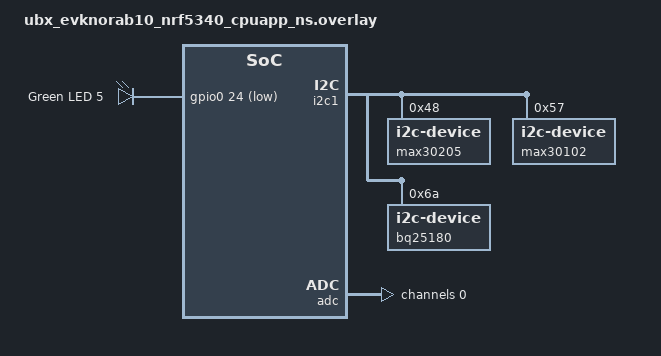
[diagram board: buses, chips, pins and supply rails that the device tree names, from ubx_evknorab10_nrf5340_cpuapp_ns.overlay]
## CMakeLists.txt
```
cmake_minimum_required(VERSION 3.20.0)

find_package(Zephyr REQUIRED HINTS $ENV{ZEPHYR_BASE})
project(NONE)

# NORDIC SDK APP START
target_sources(app PRIVATE
  src/main.c
  src/my_lbs.c
)

# NORDIC SDK APP END
zephyr_library_include_directories(.)
```

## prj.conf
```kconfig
# Adicionafo para utilização de bibliotecas da Nordic Semiconductor
CONFIG_DK_LIBRARY=y

# Adicionado para utilização do I2C
CONFIG_I2C=y

# Adicionado para utilização do ADC
CONFIG_ADC=y

# Adicionado para utilização do Bluetooth
CONFIG_BT=y
CONFIG_BT_PERIPHERAL=y
CONFIG_BT_DEVICE_NAME="Dispositivo"

# Adicionado para utilização de ponto flutuante
CONFIG_CBPRINTF_FP_SUPPORT=y

# Adicionado para mudar o MTU
CONFIG_BT_GATT_CLIENT=y
CONFIG_BT_USER_DATA_LEN_UPDATE=y
CONFIG_BT_BUF_ACL_RX_SIZE=80
CONFIG_BT_BUF_ACL_TX_SIZE=80
CONFIG_BT_L2CAP_TX_MTU=74

# Adicionado para gerenciamento/economia de bateria
CONFIG_PM_DEVICE=y

# Retirara as configurações de LOG e Serial para economia de energia
CONFIG_LOG=n
CONFIG_SERIAL=y

# Configura o clock interno
CONFIG_PTP_CLOCK=y
CONFIG_CLOCK_CONTROL_NRF_K32SRC_RC=y
CONFIG_CLOCK_CONTROL_NRF_K32SRC_500PPM=y
CONFIG_CLOCK_CONTROL_NRF_K32SRC_RC_CALIBRATION=y
CONFIG_CLOCK_CONTROL_NRF_K32SRC_XTAL=n

CONFIG_SENSOR=y

CONFIG_BT_SMP_APP_PAIRING_ACCEPT=y
CONFIG_BT_SMP=y
CONFIG_BT_SMP_APP_PAIRING_ACCEPT=y
# CONFIG_BT_SMP_SC_ONLY=y
CONFIG_BT_SMP_MIN_ENC_KEY_SIZE=7
```

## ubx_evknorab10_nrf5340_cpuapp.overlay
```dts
/* Alteração do devicetree para reconhecer os sensores e o controlador de carga na comunicação i2c */
&i2c1 {
    max30102: max30102@57{
        compatible = "i2c-device";
        status = "okay";
        reg = < 0x57 >;
    };

    bq25180: bq25180@6a{
        compatible = "i2c-device";
        status = "okay";
        reg = < 0x6a >;
    };
};

/* Alteração do devicetree para habilitar o canal analógico */
&adc {
    #address-cells = <1>;
    #size-cells = <0>;

    channel@0 {
        reg = <0>;
        zephyr,gain = "ADC_GAIN_1_6";
        zephyr,reference = "ADC_REF_INTERNAL";
        zephyr,acquisition-time = <ADC_ACQ_TIME_DEFAULT>;
        zephyr,input-positive = <NRF_SAADC_AIN0>;
    };
};
```

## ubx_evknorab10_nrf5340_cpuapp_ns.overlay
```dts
/* Alteração do devicetree para reconhecer os sensores e o controlador de carga na comunicação i2c */
&i2c1 {
    
    max30205: max30205@48{
        compatible = "i2c-device";
        status = "okay";
        reg = < 0x48 >;
    };

    max30102: max30102@57{
        compatible = "i2c-device";
        status = "okay";
        reg = < 0x57 >;
    };

    bq25180: bq25180@6a{
        compatible = "i2c-device";
        status = "okay";
        reg = < 0x6a >;
    };
    
};

/* Alteração do devicetree para habilitar o canal analógico */
&adc {
    #address-cells = <1>;
    #size-cells = <0>;

    channel@0 {
        reg = <0>;
        zephyr,gain = "ADC_GAIN_1_6";
        zephyr,reference = "ADC_REF_INTERNAL";
        zephyr,acquisition-time = <ADC_ACQ_TIME_DEFAULT>;
        zephyr,input-positive = <NRF_SAADC_AIN0>;
    };
};

/* Alteração do devicetree para habilitar o LED e botão */
/{
    leds {
        compatible = "gpio-leds";
        led5: led_5 {
            gpios = <&gpio0 24 GPIO_ACTIVE_LOW>;
            label = "Green LED 5";
        };
    };

    // buttons {
        // button4: button_4 {
        // gpios = <&gpio0 5 (GPIO_PULL_UP | GPIO_ACTIVE_LOW)>;
        // label = "Push button 5";
        // };
    // };

    aliases {
		led5 = &led5;
        // bot1 = &button4;
	};
    
};
```

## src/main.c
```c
#include <zephyr/kernel.h>

/* Bibliotecas BLE */
#include <zephyr/bluetooth/bluetooth.h>
#include <zephyr/bluetooth/gap.h>
#include <zephyr/bluetooth/uuid.h>
#include <zephyr/bluetooth/conn.h>
#include <zephyr/bluetooth/gatt.h>
#include "my_lbs.h"

/* Biliotecas GPIO */
#include <hal/nrf_gpio.h>
#include <zephyr/drivers/gpio.h>

/* Bibliotecas de gerenciamento de energia */
#include <zephyr/pm/pm.h>
#include <zephyr/pm/device.h>
	
/* Bibliotecas de dipositivos e I2C */
#include <zephyr/device.h>
#include <zephyr/devicetree.h>
#include <zephyr/drivers/i2c.h>
#include <zephyr/drivers/sensor.h>

/* Bibliotecas dos sensores e auxiliares */
#include "max30102.c"
#include "bq25180.c"

/* Biblioteca de tempo */
#include <sys/time.h>

/* Biblioteca entrada analógica */
#include <zephyr/drivers/adc.h>

/* Definição do nó analógico */
#define ADC_NODE DT_NODELABEL(adc)

/* Struct de configuração do canal analógico */
const struct adc_channel_cfg ch0_cfg_dt =
     ADC_CHANNEL_CFG_DT(DT_CHILD(DT_NODELABEL(adc), channel_0));

/* Definição do divisor de tensão, para cálculo do valor da bateria */
#define VOLTAGE_DIVISOR_RATIO (100.0 / (100.0 + 100.0)) // R2 / (R1 + R2)

/* Struct que aponta para o nó analógico */
const struct device *adc_dev = DEVICE_DT_GET(ADC_NODE);

/* Inicialização do buff analógico */
static int16_t adc_buffer;

/* Struct com configurações do canal analógico */
struct adc_sequence sequence = {
        .channels    = BIT(0),
        .buffer      = &adc_buffer,
        .buffer_size = sizeof(adc_buffer),
        .resolution  = 12,
    };

/* Struct com configurações de parâmetros de publicidade BLE */
static struct bt_le_adv_param *adv_param = BT_LE_ADV_PARAM((BT_LE_ADV_OPT_CONNECTABLE|BT_LE_ADV_OPT_USE_IDENTITY), /* Connectable advertising and use identity address */
                800, /*Min Advertising Interval 500ms (800*0.625ms) */
                801, /*Max Advertising Interval 500.625ms (801*0.625ms)*/
                NULL); /* Set to NULL for undirected advertising*/

/* Inicialização de struct e função relacionada a mudanção no tamanho do MTU */
static struct bt_gatt_exchange_params exchange_params; 
static void exchange_func(struct bt_conn *conn, uint8_t att_err, struct bt_gatt_exchange_params *params);

static void pairing_confirm(struct bt_conn *conn);

/* Definições do nome e comprimento do BLE */
#define DEVICE_NAME             CONFIG_BT_DEVICE_NAME
#define DEVICE_NAME_LEN         (sizeof(DEVICE_NAME) - 1)

/* Definições necessárias para utilização das threads */
#define STACKSIZE 1024
#define PRIORITY 7

/* Definição do nó I2C */
#define I2C_NODE DT_NODELABEL(i2c1)

/* Declaração e inicialização de variáveis */
#define BUFFER_MAX 240												// Valor máximo do buffer que auxilia na transformação dos valores em string
#define RED_LED 0X4B												// Variável que controla a intensidade do led vermelho
#define IR_LED 0x3C													// Variável que controla a intensidade do led infravermelho
#define LIMIAR_DETEC 50000											// Variável que define o limiar para considerar uma detecção

bool  status			= 0;										// Variável que indica o status de conexão BLE
int   presenca			= 0;		                                // Variável que indica a presença
float temperatura		= 0.00;										// Variável que armazena a leitura da temperatura
float bateria	 		= 0.00;										// Variável que armazena a leitura da bateria
char  json_str[]		= "inicialização da string dos sensores";	// Variável da mensagem dos dados que são enviados por bluetooth
char  pre[]				= "inicialização da string de presença";	// Variável que auxilia na montagem da variável a ser enviada (json_str)
char  bat[]				= "inicialização da string da bateria";		// Variável que auxilia na montagem da variável a ser enviada (json_str2)

uint32_t tempo_inicial;												// Variável auxiliar no controle de tempo
uint32_t tempo_atual;												// Variável auxiliar no controle de tempo

static const struct bt_data ad[] = {
	BT_DATA_BYTES(BT_DATA_FLAGS, (BT_LE_AD_GENERAL | BT_LE_AD_NO_BREDR)),
	BT_DATA(BT_DATA_NAME_COMPLETE, DEVICE_NAME, DEVICE_NAME_LEN),
};

static const struct bt_data sd[] = {
	BT_DATA_BYTES(BT_DATA_UUID128_ALL, BT_UUID_LBS_VAL),
};

/* Definições necessárias para utilização do controlador de carga */
#define BQ25180_TEMP_HIGH_REG 0x00
#define BQ25180_TEMP_LOW_REG 0x02
#define BQ25180_CONFIG_REG 0x03
#define MIN(a, b) (((a) < (b)) ? (a) : (b))
#define MIN_BAT_REG_mV 3500U
#define MAX_BAT_REG_mV 4200U
#define MIN_BAT_UNDERVOLTAGE_mV 2000U
#define MAX_BAT_UNDERVOLTAGE_mV 3000U
#define MIN_IN_CURR_mA 5U
#define MAX_IN_CURR_mA 1000U
#define BQ25180_DEVICE_ADDRESS 0x6A

/* Função com as chamadas de configuração do controlador de carga */
void bq25180_setup()
{
	// Configuração inicial do bq25180
	bq25180_enable_push_button(true);
	bq25180_set_fastcharge_current(1000);								// Configura para 1000mA (1C)
	bq25180_set_precharge_current(true); 								// Define para 10% da corrente de carga máxima
	bq25180_enable_thermal_protection(false);
	bq25180_set_precharge_threshold(2800);							   	// Define para 2800mV
	bq25180_set_battery_discharge_current(BQ25180_BAT_DISCHAGE_500mA); 	// Configura para 500mA (ou outra opção adequada)
	bq25180_set_battery_under_voltage(3200);						   	// Configura para 3200mV (ou outra opção adequada)
	bq25180_enable_battery_charging(true);

}

/* Função com retorno do tempo em ms*/
uint32_t tempo_em_ms(void) {
    return k_uptime_get_32();
}

/* Função de coleta dos dados */
// static void data_colection(const struct device *dev_i2c)
static void data_colection()
{
	/* Leitura da bateria */
	adc_read(adc_dev, &sequence);
    float adc_voltage = ((float)adc_buffer / (1 << 12)) * 0.6 * 6;
    bateria = adc_voltage / VOLTAGE_DIVISOR_RATIO;

	/* Leitura do sensor de batimento cardíaco e oximetria */
	// setPulseAmplitudeRed(RED_LED);
    // setPulseAmplitudeIR(IR_LED);
	// k_msleep(200); 

	// if(max30102_GetIR() > LIMIAR_DETEC && max30102_GetRed() > LIMIAR_DETEC){
	// 	presenca = 1;
	
	// 	setPulseAmplitudeRed(0x00);
	// 	setPulseAmplitudeIR(0x00);
	// }
	// else{
	// 	presenca = 0;
    //     setPulseAmplitudeRed(0x00);
	// 	setPulseAmplitudeIR(0x00);
	// }

	// /* Converção dos valores para string */
	// sprintf(bat, "%.2f", bateria);
	// sprintf(pre, "%d", presenca);

	// /* Construção da string que será enviada via BLE, no serviço TCC*/
	// snprintf(json_str, BUFFER_MAX, "{\"Presenca\": %s, \"Bateria\": %s}", pre, bat);		
	 snprintf(json_str, BUFFER_MAX, "Presenca: 1, Bateria: 3,6", pre, bat);	
}

/* Função de chamada da thread responsável pelo envio de dados via BLE */
void send_data_thread(void)
{	
	// const struct device *dev_i2c;
	// dev_i2c = DEVICE_DT_GET(I2C_NODE);

	while(1){

		while(status == 1){
			// pm_device_action_run(dev_i2c, PM_DEVICE_ACTION_TURN_ON);
			tempo_inicial = tempo_em_ms();
			tempo_atual = tempo_em_ms();

			/* Chamada da função de coleta de dados */
			// data_colection(dev_i2c);
			data_colection();
			
			/* Chamada das funções que fazem o envio dos dados via bluetooth */
			sensors_notify(json_str);
			printk("Dado enviado\n");
			// pm_device_action_run(dev_i2c, PM_DEVICE_ACTION_TURN_OFF);
			tempo_atual = tempo_em_ms();
			k_msleep(60000 - (tempo_atual - tempo_inicial));
		}
		
		while (status == 0)
		{
			k_msleep(5000);
		}
	}	
}

/* Função de configuração de tamanho do MTU */
static void update_data_length(struct bt_conn *conn)
{
    int err;
    struct bt_conn_le_data_len_param my_data_len = {
        .tx_max_len = BT_GAP_DATA_LEN_MAX,
        .tx_max_time = BT_GAP_DATA_TIME_MAX,
    };
    err = bt_conn_le_data_len_update(conn, &my_data_len);
    if (err) {
        printk("data_len_update failed (err: %d)", err);
    }
}

/* Função de configuração de tamanho do MTU */
static void update_mtu(struct bt_conn *conn)
{
    int err;
    exchange_params.func = exchange_func;

    err = bt_gatt_exchange_mtu(conn, &exchange_params);
    if (err) {
        printk("bt_gatt_exchange_mtu failed (err: %d)", err);
    }
}

/* Função de callback para conexão BLE */
static void on_connected(struct bt_conn *conn, uint8_t err)
{
	// const struct device *dev_i2c;
	// dev_i2c = DEVICE_DT_GET(I2C_NODE);

	if (err) {
		printk("Falha de conexão (err: %u)\n", err);
		return;
	}
	printk("Conectado\n");
	status = 1;
	/* Chamada de funções para configuração de tamanho do MTU */
	update_data_length(conn);
	update_mtu(conn);

	// pm_device_action_run(dev_i2c, PM_DEVICE_ACTION_TURN_ON);
}

/* Função de callback para desconexão do BLE */
static void on_disconnected(struct bt_conn *conn, uint8_t reason)
{
	// const struct device *dev_i2c;
	// dev_i2c = DEVICE_DT_GET(I2C_NODE);

	printk("Desconectado (motivo: %u)\n", reason);
	status = 0;
	// setPulseAmplitudeRed(0x00);
	// setPulseAmplitudeIR(0x00);
	// pm_device_action_run(dev_i2c, PM_DEVICE_ACTION_TURN_OFF);
}

/* Função de callback para alteração de tamanho do MTU */
void on_le_data_len_updated(struct bt_conn *conn, struct bt_conn_le_data_len_info *info)
{
    uint16_t tx_len     = info->tx_max_len; 
    uint16_t tx_time    = info->tx_max_time;
    uint16_t rx_len     = info->rx_max_len;
    uint16_t rx_time    = info->rx_max_time;
    printk("Comprimento de dado atualizado. Comprimento %d/%d bytes, tempo %d/%d us\n", tx_len, rx_len, tx_time, rx_time);	
}

/* Struct de callbacks BLE */
struct bt_conn_cb connection_callbacks = {
    .connected              = on_connected,
    .disconnected           = on_disconnected,  
	.le_data_len_updated    = on_le_data_len_updated,
};

static void pairing_confirm(struct bt_conn *conn)
{
    printf("Confirming pairing with device.\n");
    // Se você quiser confirmar o pareamento automaticamente:
    // bt_conn_auth_confirm(conn);
	bt_conn_auth_pairing_confirm(conn);
    
}
struct bt_conn_auth_cb conn_auth_callbacks = {
   .pairing_confirm = pairing_confirm,
};

/* Função para alteração de tamanho do MTU */
static void exchange_func(struct bt_conn *conn, uint8_t att_err, struct bt_gatt_exchange_params *params)
{
	printk("MTU exchange %s\n", att_err == 0 ? "successful" : "failed");
    if (!att_err) {
        uint16_t payload_mtu = bt_gatt_get_mtu(conn) - 3;   // 3 bytes used for Attribute headers.
        printk("Novo MTU: %d bytes\n", payload_mtu);
    }
}

/* Função de inicialização do dispositivo, realiza as configurações básicas */
void begining_thread(void)
{
	int err;
    
	// const struct device *dev_i2c;
	// dev_i2c = DEVICE_DT_GET(I2C_NODE);

	printk("Hardware TCC\n");
	
	/* Chamada da função de setup do controlador de carga */
	// bq25180_setup();

	/* Chamada da função de inicialização do sensor MAX30102 */
	// max30102_Begin();

	/* Inicialização da entrada analógica */
    if (!device_is_ready(adc_dev)) {
        printk("ADC não pronto\n");
        return;
    }

	/* Configuração da entrada analógica */
    err = adc_channel_setup(adc_dev, &ch0_cfg_dt);
    if (err) {
        printk("Erro na configuração da entrada analógica: %d\n", err);
        return;
    }
	
	/* Inicialização do BLE */
	err = bt_enable(NULL);
	if (err) {
		printk("Falha na inicialização do Bluetooth (err: %d)\n", err);
		return;
	}

	/* Registro de callbacks do BLE */
    bt_conn_cb_register(&connection_callbacks);
	bt_conn_auth_cb_register(&conn_auth_callbacks);
	/* Inicialização da característica TCC */
	err = tcc_init();
	if (err) {
		printk("Falha na inicialização da característica TCC (err: %d)\n", err);
		return;
	}

	printk("BLE inicializado\n");

	/* Inicialazação da publicidade BLE */
	err = bt_le_adv_start(adv_param, ad, ARRAY_SIZE(ad), sd, ARRAY_SIZE(sd));
	if (err) {
		printk("Falha no começo da publicidade (err: %d)\n", err);
		return;
	}
	
	printk("Publicidade inicializada\n");

	// setPulseAmplitudeRed(0x00);
	// setPulseAmplitudeIR(0x00);
}

/* Thread de inicialização do dispositivo */
K_THREAD_DEFINE(begining_thread_id, STACKSIZE, begining_thread, NULL, NULL, NULL, PRIORITY, 0, 0);
/* Thread de coleta e envio dos dados (delay de 100ms para garantir a inicialização do dispositivo) */
K_THREAD_DEFINE(send_data_thread_id, STACKSIZE, send_data_thread, NULL, NULL, NULL, PRIORITY, 0, 100);
```

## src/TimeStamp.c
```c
#include <Zephyr/kernel.h>
#include <stdio.h>
#include <stdint.h>

#define for_micro_second 1 // For micro second time stamp
#define for_milli_second 1000 // For micro second time stamp

void init_timeStamp(void)
{
    NRF_TIMER0->MODE = TIMER_MODE_MODE_Timer;  // Set the TIMER mode to Timer Mode
    NRF_TIMER0->PRESCALER = 4;                // Set the prescaler to 2^4 (16)
    NRF_TIMER0->TASKS_CLEAR = 1;              // Clear the timer
    NRF_TIMER0->BITMODE = TIMER_BITMODE_BITMODE_32Bit; // 32-bit timer mode
    NRF_TIMER0->TASKS_START = 1;             // Start the timer
} // End of void timer_init(void)
///////| (34) |///////////
uint32_t get_uTimeStamp(void)
{
    NRF_TIMER0->TASKS_CAPTURE[1] = 1;  // Trigger a capture event on CC[1]
    return NRF_TIMER0->CC[1]/for_micro_second;  // Read the captured value from CC[1]
} // End of uint32_t get_timestamp(void)
uint32_t get_mTimeStamp(void)
{
    NRF_TIMER0->TASKS_CAPTURE[1] = 1;  // Trigger a capture event on CC[1]
    return NRF_TIMER0->CC[1]/for_milli_second;  // Read the captured value from CC[1]
} // End of uint32_t get_timestamp(void)
```

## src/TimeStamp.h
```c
#ifndef USTIMESTAMP_H_
#define USTIMESTAMP_H_

#include <stdio.h>
#include <stdint.h>

void init_timeStamp(void);
uint32_t get_uTimeStamp(void);
uint32_t get_mTimeStamp(void);

#endif /* USTIMESTAMP_H_ */
```

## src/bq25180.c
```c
/*
 * SPDX-FileCopyrightText: 2022 Kyunghwan Kwon <k@mononn.com>
 *
 * SPDX-License-Identifier: MIT
 */

#include "bq25180.h"
#include "bq25180_overrides.h"
#include <string.h>

#if !defined(assert)
#define assert(exp)
#endif

#if !defined(MIN)
#define MIN(a, b)		(((a) > (b))? (b) : (a))
#endif

#define MIN_BAT_REG_mV		3500U
#define MAX_BAT_REG_mV		4650U

#define MIN_BAT_UNDERVOLTAGE_mV	2000U
#define MAX_BAT_UNDERVOLTAGE_mV	3000U

#define MIN_IN_CURR_mA		5U
#define MAX_IN_CURR_mA		1000U

enum registers {
	STAT0		= 0,	/* Charger Status */
	STAT1,			/* Charger Status and Faults */
	FLAG0,			/* Charger Flag Registers */
	VBAT_CTRL,		/* Battery Voltage Control */
	ICHG_CTRL,		/* Fast Charge Current Control */
	CHARGECTRL0,		/* Charger Control 0 */
	CHARGECTRL1,		/* Charger Control 1 */
	IC_CTRL,		/* IC Control */
	TMR_ILIM,		/* Timer and Input Current Limit Control */
	SHIP_RST,		/* Shipmode, Reset and Pushbutton Control */
	SYS_REG,		/* SYS Regulation Voltage Control */
	TS_CONTROL,		/* TS Control */
	MASK_ID,		/* MASK and Device ID */
};

static bool write_reg(uint8_t reg, uint8_t val)
{
	return bq25180_write(BQ25180_DEVICE_ADDRESS, reg, &val, 1) >= 0;
}

static bool read_reg(uint8_t reg, uint8_t *p)
{
	return bq25180_read(BQ25180_DEVICE_ADDRESS, reg, p, 1) >= 0;
}

static void set_reg(uint8_t reg, uint8_t bit, uint8_t mask, uint8_t val)
{
	uint8_t tmp;

	read_reg(reg, &tmp);

	tmp = tmp & (uint8_t)~(mask << bit);
	tmp = tmp | (uint8_t)(val << bit);

	write_reg(reg, tmp);
}

static void set_interrupts(uint8_t mask, uint8_t enable)
{
	if (mask & BQ25180_INTR_CHARGING_STATUS) {
		set_reg(CHARGECTRL1, 2, 1, !enable); /* CHG_STATUS_INT_MASK */
	}
	if (mask & BQ25180_INTR_CURRENT_LIMIT) {
		set_reg(CHARGECTRL1, 1, 1, !enable); /* ILIM_INT_MASK */
	}
	if (mask & BQ25180_INTR_VDPM) {
		set_reg(CHARGECTRL1, 0, 1, !enable); /* VDPM_INT_MASK */
	}
	if (mask & BQ25180_INTR_THERMAL_FAULT) {
		set_reg(MASK_ID, 7, 1, !enable); /* TS_INT_MASK */
	}
	if (mask & BQ25180_INTR_THERMAL_REGULATION) {
		set_reg(MASK_ID, 6, 1, !enable); /* TREG_INT_MASK */
	}
	if (mask & BQ25180_INTR_BATTERY_RANGE) {
		set_reg(MASK_ID, 5, 1, !enable); /* BAT_INT_MASK */
	}
	if (mask & BQ25180_INTR_POWER_ERROR) {
		set_reg(MASK_ID, 4, 1, !enable); /* PG_INT_MASK */
	}
}

void bq25180_reset(bool hardware_reset)
{
	if (hardware_reset) {
		set_reg(SHIP_RST, 5, 3, 3); /* EN_RST_SHIP */
	} else {
		set_reg(SHIP_RST, 7, 1, 1); /* REG_RST */
	}
}

bool bq25180_read_event(struct bq25180_event *p)
{
	uint8_t val;

	assert(p != NULL);

	if (!read_reg(FLAG0, &val)) {
		return false;
	}

	memset(p, 0, sizeof(*p));

	p->battery_overcurrent = val & 1U; /* BAT_OCP_FAULT */
	p->battery_undervoltage = (val >> 1) & 1U; /* BUVLO_FAULT_FLAG */
	p->input_overvoltage = (val >> 2) & 1U; /* VIN_OVP_FAULT_FLAG */
	p->thermal_regulation = (val >> 3) & 1U; /* THERMREG_ACTIVE_FLAG */
	p->vindpm_fault = (val >> 4) & 1U; /* VINDPM_ACTIVE_FLAG */
	p->vdppm_fault = (val >> 5) & 1U; /* VDPPM_ACTIVE_FLAG */
	p->ilim_fault = (val >> 6) & 1U; /* ILIM_ACTIVE_FLAG */
	p->battery_thermal_fault = (val >> 7) & 1U; /* TS_FAULT */

	return true;
}

bool bq25180_read_state(struct bq25180_state *p)
{
	uint8_t val0, val1;

	assert(p != NULL);

	if (!read_reg(STAT0, &val0) || !read_reg(STAT1, &val1)) {
		return false;
	}

	memset(p, 0, sizeof(*p));

	p->vin_good = val0 & 1U; /* VIN_PGOOD_STAT */
	p->thermal_regulation_active = (val0 >> 1) & 1U; /* THERMREG_ACTIVE_STAT */
	p->vindpm_active = (val0 >> 2) & 1U; /* VINDPM_ACTIVE_STAT */
	p->vdppm_active = (val0 >> 3) & 1U; /* VDPPM_ACTIVE_STAT */
	p->ilim_active = (val0 >> 4) & 1U; /* ILIM_ACTIVE_STAT */
	p->charging_status = (val0 >> 5) & 3U; /* CHG_STAT */
	p->tsmr_open = (val0 >> 7) & 1U; /* TS_OPEN_STAT */
	p->wake2_raised = val1 & 1U; /* WAKE2_FLAG */
	p->wake1_raised = (val1 >> 1) & 1U; /* WAKE1_FLAG */
	p->safety_timer_fault = (val1 >> 2) & 1U; /* SAFETY_TMR_FAULT_FLAG */
	p->ts_status = (val1 >> 3) & 3U; /* TS_STAT */
	p->battery_undervoltage_active = (val1 >> 6) & 1U; /* BUVLO_START */
	p->vin_overvoltage_active = (val1 >> 7) & 1U; /* VIN_OVP_STAT */

	return true;
}

void bq25180_enable_battery_charging(bool enable)
{
	set_reg(ICHG_CTRL, 7, 1, !enable); /* CHG_DIS */
}

void bq25180_set_safety_timer(enum bq25180_safety_timer opt)
{
	/* TODO: support IC_CTRL.2XTMR_EN */
	set_reg(IC_CTRL, 2, 3, (uint8_t)opt); /* SAFETY_TIMER */
}

void bq25180_set_watchdog_timer(enum bq25180_watchdog opt)
{
	/* TODO: support SYS_REG.WATCHDOG_15S_ENABLE */
	set_reg(IC_CTRL, 0, 3, (uint8_t)opt); /* WATCHDOG_SEL */
}

void bq25180_set_battery_regulation_voltage(uint16_t millivoltage)
{
	assert(millivoltage >= MIN_BAT_REG_mV &&
			millivoltage <= MAX_BAT_REG_mV);

	uint8_t reg = (uint8_t)((millivoltage - MIN_BAT_REG_mV) / 10);
	write_reg(VBAT_CTRL, reg);
}

void bq25180_set_battery_discharge_current(
		enum bq25180_bat_discharge_current opt)
{
	set_reg(CHARGECTRL1, 6, 3, (uint8_t)opt); /* IBAT_OCP */
}

void bq25180_set_battery_under_voltage(uint16_t millivoltage)
{
	uint8_t val;

	assert(millivoltage >= MIN_BAT_UNDERVOLTAGE_mV &&
			millivoltage <= MAX_BAT_UNDERVOLTAGE_mV);

	if (millivoltage > 2800) {
		val = 2;
	} else if (millivoltage > 2600) {
		val = 3;
	} else if (millivoltage > 2400) {
		val = 4;
	} else if (millivoltage > 2200) {
		val = 5;
	} else if (millivoltage > 2000) {
		val = 6;
	} else {
		val = 7;
	}

	set_reg(CHARGECTRL1, 3, 7, val); /* UVLO */
}

void bq25180_set_precharge_threshold(uint16_t millivoltage)
{
	uint8_t val = 0;

	if (millivoltage <= 2800) {
		val = 1;
	}

	set_reg(IC_CTRL, 6, 1, val); /* VLOWV_SEL */
}

void bq25180_set_precharge_current(bool double_termination_current)
{
	set_reg(CHARGECTRL0, 6, 1, !double_termination_current); /* IPRECHG */
}

void bq25180_set_fastcharge_current(uint16_t milliampere)
{
	assert(milliampere >= MIN_IN_CURR_mA && milliampere <= MAX_IN_CURR_mA);

	uint8_t val = (uint8_t)(milliampere - MIN_IN_CURR_mA);

	if (milliampere > 35) {
		/* NOTE: 36mA to 39mA not in the range.
		 * See the datasheet: Table 8-13. */
		val = MIN((uint8_t)(milliampere / 10 + 27), 127/*1000mA*/);
	}

	set_reg(ICHG_CTRL, 0, 0x7f, val); /* ICHG */
}

void bq25180_set_termination_current(uint8_t pct)
{
	uint8_t val = 0;

	if (pct >= 20) {
		val = 3;
	} else if (pct >= 10) {
		val = 2;
	} else if (pct >= 5) {
		val = 1;
	}

	set_reg(CHARGECTRL0, 4, 3, val); /* ITERM */
}

void bq25180_enable_vindpm(enum bq25180_vindpm opt)
{
	set_reg(CHARGECTRL0, 2, 3, (uint8_t)opt); /* VINDPM */
}

void bq25180_enable_dppm(bool enable)
{
	set_reg(SYS_REG, 0, 1, !enable); /* VDPPM_DIS */
}

void bq25180_set_input_current(uint16_t milliampere)
{
	uint8_t val = 0;

	if (milliampere >= 1100) {
		val = 7;
	} else if (milliampere >= 700) {
		val = 6;
	} else if (milliampere >= 500) {
		val = 5;
	} else if (milliampere >= 400) {
		val = 4;
	} else if (milliampere >= 300) {
		val = 3;
	} else if (milliampere >= 200) {
		val = 2;
	} else if (milliampere >= 100) {
		val = 1;
	}

	set_reg(TMR_ILIM, 0, 7, val); /* ILIM */
}

void bq25180_set_sys_source(enum bq25180_sys_source source)
{
	set_reg(SYS_REG, 2, 3, (uint8_t)source); /* SYS_MODE */
}

void bq25180_set_sys_voltage(enum bq25180_sys_regulation val)
{
	set_reg(SYS_REG, 5, 7, (uint8_t)val); /* SYS_REG_CTRL */
}

void bq25180_enable_thermal_protection(bool enable)
{
	set_reg(IC_CTRL, 7, 1, enable); /* TS_EN */
}

void bq25180_enable_push_button(bool enable)
{
	set_reg(SHIP_RST, 0, 1, enable); /* EN_PUSH */
}

void bq25180_enable_interrupt(uint8_t mask)
{
	set_interrupts(mask, 1);
}

void bq25180_disable_interrupt(uint8_t mask)
{
	set_interrupts(mask, 0);
}
```

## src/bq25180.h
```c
/*
 * SPDX-FileCopyrightText: 2022 Kyunghwan Kwon <k@mononn.com>
 *
 * SPDX-License-Identifier: MIT
 */

#ifndef LIBMCU_BQ25180_H
#define LIBMCU_BQ25180_H

#if defined(__cplusplus)
extern "C" {
#endif

#include <stdbool.h>
#include <stdint.h>
#include <stddef.h>

#define BQ25180_DEVICE_ADDRESS		0x6A /* 7-bit addressing only */

enum bq25180_sys_source {
	BQ25180_SYS_SRC_VIN_VBAT, /**< Powered from VIN if present or VBAT */
	BQ25180_SYS_SRC_VBAT, /**< Powered from VBAT only, even if VIN present */
	BQ25180_SYS_SRC_NONE_FLOATING, /**< Disconnected and left floating */
	BQ25180_SYS_SRC_NONE_PULLDOWN, /**< Disconnected with pulldown */
};

enum bq25180_sys_regulation {
	BQ25180_SYS_REG_VBAT, /**< VBAT + 225 mV (3.8 V minimum) */
	BQ25180_SYS_REG_V4_4, /**< 4.4V */
	BQ25180_SYS_REG_V4_5, /**< 4.5V */
	BQ25180_SYS_REG_V4_6, /**< 4.6V */
	BQ25180_SYS_REG_V4_7, /**< 4.7V */
	BQ25180_SYS_REG_V4_8, /**< 4.8V */
	BQ25180_SYS_REG_V4_9, /**< 4.9V */
	BQ25180_SYS_REG_PASS_THROUGH, /**< Pass through */
};

enum bq25180_bat_discharge_current {
	BQ25180_BAT_DISCHAGE_500mA,
	BQ25180_BAT_DISCHAGE_1000mA,
	BQ25180_BAT_DISCHAGE_1500mA,
	BQ25180_BAT_DISCHAGE_DISABLE,
};

enum bq25180_safety_timer {
	BQ25180_SAFETY_3H, /**< 3 hour fast charge */
	BQ25180_SAFETY_6H, /**< 6 hour fast charge */
	BQ25180_SAFETY_12H, /**< 12 hour fast charge */
	BQ25180_SAFETY_DISABLE, /**< disable safty timer */
};

enum bq25180_watchdog {
	BQ25180_WDT_DEFAULT, /**< 160s hardware reset */
	BQ25180_WDT_160_SEC, /**< 160s hardware reset */
	BQ25180_WDT_40_SEC, /**< 40s hardware reset */
	BQ25180_WDT_DISABLE, /**< Disable watchdog function */
};

enum bq25180_vindpm {
	BQ25180_VINDPM_4200mV,
	BQ25180_VINDPM_4500mV,
	BQ25180_VINDPM_4700mV,
	BQ25180_VINDPM_DISABLE,
};

enum bq25180_intr {
	BQ25180_INTR_CHARGING_STATUS		= 0x01,
	BQ25180_INTR_CURRENT_LIMIT		= 0x02,
	BQ25180_INTR_VDPM			= 0x04,
	BQ25180_INTR_THERMAL_FAULT		= 0x08,
	BQ25180_INTR_THERMAL_REGULATION		= 0x10,
	BQ25180_INTR_BATTERY_RANGE		= 0x20,
	BQ25180_INTR_POWER_ERROR		= 0x40,
	BQ25180_INTR_ALL			= (
		BQ25180_INTR_CHARGING_STATUS |
		BQ25180_INTR_CURRENT_LIMIT |
		BQ25180_INTR_VDPM |
		BQ25180_INTR_THERMAL_FAULT |
		BQ25180_INTR_THERMAL_REGULATION |
		BQ25180_INTR_BATTERY_RANGE |
		BQ25180_INTR_POWER_ERROR
	),
};

struct bq25180_event {
	uint8_t battery_overcurrent  : 1;
	uint8_t battery_undervoltage : 1;
	uint8_t input_overvoltage    : 1;
	uint8_t thermal_regulation   : 1;
	uint8_t vindpm_fault         : 1;
	uint8_t vdppm_fault          : 1;
	uint8_t ilim_fault           : 1;
	uint8_t battery_thermal_fault: 1;
};

struct bq25180_state {
	uint16_t vin_good                   : 1;
	uint16_t thermal_regulation_active  : 1;
	uint16_t vindpm_active              : 1;
	uint16_t vdppm_active               : 1;
	uint16_t ilim_active                : 1;
	uint16_t charging_status            : 2;
	uint16_t tsmr_open                  : 1;
	uint16_t wake2_raised               : 1;
	uint16_t wake1_raised               : 1;
	uint16_t safety_timer_fault         : 1;
	uint16_t ts_status                  : 2;
	uint16_t battery_undervoltage_active: 1;
	uint16_t vin_overvoltage_active     : 1;
};

/**
 * @brief Reset the system
 *
 * The device will reset all of the registers to the defaults. A hardware reset
 * to completely powercycle the system.
 *
 * @param[in] hardware_reset hardware reset if true while soft reset if false
 *
 * @note A hardware or software reset will cancel the pending shipmode request.
 */
void bq25180_reset(bool hardware_reset);

/**
 * @brief Read the device events
 *
 * @param[in] p @ref bq25180_event
 *
 * @return true on success or false
 */
bool bq25180_read_event(struct bq25180_event *p);

/**
 * @brief Read the device state
 *
 * @param[in] p @ref bq25180_state
 *
 * @return true on success or false
 */
bool bq25180_read_state(struct bq25180_state *p);

/**
 * @brief Enable or disable battery charging
 *
 * @param[in] enable battery charging to be enabled if true or false to be
 *                   disabled
 */
void bq25180_enable_battery_charging(bool enable);

/**
 * @brief Set the safety time
 *
 * If charging has not terminated before the programmed safety time, charging
 * is disabled.
 *
 * When the safety timer is active, changing the safety timer duration resets
 * the safety timer.
 *
 * 6 hour by default on reset.
 *
 * @param[in] opt one of @ref bq25180_safety_timer
 */
void bq25180_set_safety_timer(enum bq25180_safety_timer opt);

/**
 * @brief Set the watchdog time
 *
 * Once the initial transaction is received, the watchdog timer is started. The
 * watchdog timer is reset by any transaction by the host using the I2C
 * interface. If the watchdog timer expires without a reset from the I2C
 * interface, all charger parameters registers are reset to the default values.
 *
 * 160 sec by default on reset.
 *
 * @param[in] opt one of @ref bq25180_watchdog
 */
void bq25180_set_watchdog_timer(enum bq25180_watchdog opt);

/**
 * @brief Set the battery regulation target
 *
 * The charging current starts tapering off once the battery voltage approches
 * the battery regulation target.
 *
 * 4200mV by default on reset.
 * 
 * @param[in] millivoltage from 3500mV up to 4650mV
 */
void bq25180_set_battery_regulation_voltage(uint16_t millivoltage);

/**
 * @brief Set the battery discharge current limit
 *
 * @ref BQ25180_BAT_DISCHAGE_500mA by default on reset.
 *
 * @param[in] opt one of @ref bq25180_bat_discharge_current
 */
void bq25180_set_battery_discharge_current(
		enum bq25180_bat_discharge_current opt);

/**
 * @brief Set battery undervoltage lockout falling threshold
 *
 * When voltage at the battery drops below the configured, the BAT and SYS path
 * gets disengaged.
 *
 * The below levels are supported:
 * - 3000mV
 * - 2800mV
 * - 2600mV
 * - 2400mV
 * - 2200mV
 * - 2000mV
 *
 * 3000mV by default on reset.
 * 
 * @param[in] millivoltage from 2000mV up to 3000mV
 */
void bq25180_set_battery_under_voltage(uint16_t millivoltage);

/**
 * @brief Set the precharge voltage threshold
 *
 * 3000mV by default on reset.
 *
 * @param[in] millivoltage either of 2800mV or 3000mV only
 */
void bq25180_set_precharge_threshold(uint16_t millivoltage);

/**
 * @brief Set the precharge current 
 *
 * The precharge current is the same to the termination current by default on
 * reset.
 *
 * @param[in] double_termination_current double of termination current if true
 *            or same to the termination current if false
 */
void bq25180_set_precharge_current(bool double_termination_current);

/**
 * @brief Set the maximum charge current level
 *
 * 10mA by default on reset.
 *
 * @param[in] milliampere from 5mA up to 1000mA
 */
void bq25180_set_fastcharge_current(uint16_t milliampere);

/**
 * @brief Set the termination current
 *
 * 10% by default on reset.
 *
 * @param[in] pct percentage of the maximum charge current level
 */
void bq25180_set_termination_current(uint8_t pct);

/**
 * @brief Enable or disable Input Voltage Based Dynamic Power Management
 *
 * This sets input voltage threshold to keep the input voltage higher than
 * configured.
 *
 * This feature is disbled by default on reset.
 *
 * @param[in] opt @ref bq25180_vindpm
 */
void bq25180_enable_vindpm(enum bq25180_vindpm opt);

/**
 * @brief Enable of disable Dynamic Power Path Management Mode
 *
 * This feature is enabled by default on reset.
 *
 * @param[in] enable true to enable, false to disable
 */
void bq25180_enable_dppm(bool enable);

/**
 * @brief Set the maximum input current
 *
 * The input DPM loop reduces input current if the sum of the charging and load
 * currents exceeds the preset maximum input current.
 *
 * 500mA by default on reset.
 *
 * @param[in] milliampere from 50mA up to 1100mA
 */
void bq25180_set_input_current(uint16_t milliampere);

/**
 * @brief Set regulated system voltage source
 *
 * This sets how SYS is powered in any state, except SHIPMODE.
 *
 * @ref BQ25180_SYS_SRC_VIN_VBAT by default on reset.
 *
 * @param[in] source one of @ref bq25180_sys_source
 */
void bq25180_set_sys_source(enum bq25180_sys_source source);

/**
 * @brief Set SYS regulation voltgage
 *
 * @ref BQ25180_SYS_REG_V4_4 by default on reset.
 *
 * @param[in] val one of @ref bq25180_sys_regulation
 */
void bq25180_set_sys_voltage(enum bq25180_sys_regulation val);

/**
 * @brief Enable or disable thermal protection
 *
 * @param[in] enable enable if true or disable if false
 */
void bq25180_enable_thermal_protection(bool enable);

/**
 * @brief Enable or disable push button on battery only
 *
 * @param[in] enable enable if true or disable if false
 */
void bq25180_enable_push_button(bool enable);

/**
 * @brief Enable interrupts
 *
 * @param[in] mask combined interrupt mask @ref bq25180_intr
 */
void bq25180_enable_interrupt(uint8_t mask);

/**
 * @brief Disable interrupts
 *
 * @param[in] mask combined interrupt mask @ref bq25180_intr
 */
void bq25180_disable_interrupt(uint8_t mask);

/* TODO: Implement bq25180_shutdown_mode(void) */

#if defined(__cplusplus)
}
#endif

#endif /* LIBMCU_BQ25180_H */
```

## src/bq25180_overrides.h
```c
/*
 * SPDX-FileCopyrightText: 2022 Kyunghwan Kwon <k@mononn.com>
 *
 * SPDX-License-Identifier: MIT
 */

#ifndef LIBMCU_BQ25180_OVERRIDES_H
#define LIBMCU_BQ25180_OVERRIDES_H

#if defined(__cplusplus)
extern "C"
{
#endif

#include <stdint.h>
#include <stddef.h>
    #include <zephyr/device.h>
#define BQ25180_NODE DT_NODELABEL(bq25180)
    /**
     * @brief Read a register value via I2C
     *
     * @param[in] addr device address
     * @param[in] reg register address to read from
     * @param[in] buf buffer to get the value in
     * @param[in] bufsize size of @ref buf
     *
     * @return The number of bytes read on success. Otherwise a negative integer
     *         error code
     *
     * @note This function should be implemented for the specific platform or
     *       board. The default one does nothing being linked weak.
     */
    int bq25180_read(uint8_t addr, uint8_t reg, void *buf, size_t bufsize)
    {
        // const struct device *i2c_dev = DEVICE_DT_GET(I2C_NODE);
        static const struct i2c_dt_spec dev_i2c = I2C_DT_SPEC_GET(BQ25180_NODE);

        if (!device_is_ready(dev_i2c.bus))
        {
            printk("I2C bus %s is not ready!\n\r", dev_i2c.bus->name);
            return;
        }

        uint8_t write_data[1] = {reg};
        uint8_t read_data[bufsize];
        struct i2c_msg msgs[2];

        msgs[0].buf = write_data;
        msgs[0].len = 1;
        msgs[0].flags = I2C_MSG_WRITE;

        msgs[1].buf = read_data;
        msgs[1].len = bufsize;
        msgs[1].flags = I2C_MSG_READ | I2C_MSG_STOP;

        if (i2c_transfer(dev_i2c.bus, &msgs[0], 2, addr) < 0)
        {
            printk("Error: Unable to write and read data over I2C\n");
            return -1;
        }

        memcpy(buf, read_data, bufsize);

        return 0; // Success
    };

    /**
     * @brief Write a value to a register via I2C
     *
     * @param[in] addr device address
     * @param[in] reg register address to write to
     * @param[in] data data to be written in @ref reg
     * @param[in] data_len length of @ref data
     *
     * @return The number of bytes written on success. Otherwise a negative integer
     *         error code
     *
     * @note This function should be implemented for the specific platform or
     *       board. The default one does nothing being linked weak.
     */
    int bq25180_write(uint8_t addr, uint8_t reg, const void *data, size_t data_len)
    {
        static const struct i2c_dt_spec dev_i2c = I2C_DT_SPEC_GET(BQ25180_NODE);

        if (!device_is_ready(dev_i2c.bus))
        {
            printk("I2C bus %s is not ready!\n\r", dev_i2c.bus->name);
            return;
        }
        uint8_t i2c_address = addr;
        uint8_t buf[data_len + 1];
        buf[0] = reg;

        if (data_len > 0)
        {
            memcpy(&buf[1], data, data_len);
        }

        struct i2c_msg msg;
        msg.buf = buf;
        msg.len = data_len + 1;
        msg.flags = I2C_MSG_WRITE;

        if (i2c_transfer(dev_i2c.bus, &msg, 1, i2c_address) < 0)
        {
            printk("Error: Unable to write to registers\n");
            return -1;
        }

        printk("Write operation successful\n");

        return 0; // Sucesso
    };

#if defined(__cplusplus)
}
#endif

#endif /* LIBMCU_BQ25180_OVERRIDES_H */
```

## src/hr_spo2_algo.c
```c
#include <stdint.h>
#include "hr_spo2_algo.h"

static  int32_t an_x[ BUFFER_SIZE]; //ir
static  int32_t an_y[ BUFFER_SIZE]; //red

//uch_spo2_table is approximated as  -45.060*ratioAverage* ratioAverage + 30.354 *ratioAverage + 94.845 ;
const uint8_t uch_spo2_table[184]={ 95, 95, 95, 96, 96, 96, 97, 97, 97, 97, 97, 98, 98, 98, 98, 98, 99, 99, 99, 99,
              99, 99, 99, 99, 100, 100, 100, 100, 100, 100, 100, 100, 100, 100, 100, 100, 100, 100, 100, 100,
              100, 100, 100, 100, 99, 99, 99, 99, 99, 99, 99, 99, 98, 98, 98, 98, 98, 98, 97, 97,
              97, 97, 96, 96, 96, 96, 95, 95, 95, 94, 94, 94, 93, 93, 93, 92, 92, 92, 91, 91,
              90, 90, 89, 89, 89, 88, 88, 87, 87, 86, 86, 85, 85, 84, 84, 83, 82, 82, 81, 81,
              80, 80, 79, 78, 78, 77, 76, 76, 75, 74, 74, 73, 72, 72, 71, 70, 69, 69, 68, 67,
              66, 66, 65, 64, 63, 62, 62, 61, 60, 59, 58, 57, 56, 56, 55, 54, 53, 52, 51, 50,
              49, 48, 47, 46, 45, 44, 43, 42, 41, 40, 39, 38, 37, 36, 35, 34, 33, 31, 30, 29,
              28, 27, 26, 25, 23, 22, 21, 20, 19, 17, 16, 15, 14, 12, 11, 10, 9, 7, 6, 5,
              3, 2, 1 };

void maxim_heart_rate_and_oxygen_saturation(uint32_t *pun_ir_buffer, int32_t n_ir_buffer_length, uint32_t *pun_red_buffer, int32_t *pn_spo2, int8_t *pch_spo2_valid,
                int32_t *pn_heart_rate, int8_t *pch_hr_valid)
/**
* \brief        Calculate the heart rate and SpO2 level
* \par          Details
*               By detecting  peaks of PPG cycle and corresponding AC/DC of red/infra-red signal, the an_ratio for the SPO2 is computed.
*               Since this algorithm is aiming for Arm M0/M3. formaula for SPO2 did not achieve the accuracy due to register overflow.
*               Thus, accurate SPO2 is precalculated and save longo uch_spo2_table[] per each an_ratio.
*
* \param[in]    *pun_ir_buffer           - IR sensor data buffer
* \param[in]    n_ir_buffer_length      - IR sensor data buffer length
* \param[in]    *pun_red_buffer          - Red sensor data buffer
* \param[out]    *pn_spo2                - Calculated SpO2 value
* \param[out]    *pch_spo2_valid         - 1 if the calculated SpO2 value is valid
* \param[out]    *pn_heart_rate          - Calculated heart rate value
* \param[out]    *pch_hr_valid           - 1 if the calculated heart rate value is valid
*
* \retval       None
*/
{
  uint32_t un_ir_mean;
  int32_t k, n_i_ratio_count;
  int32_t i, n_exact_ir_valley_locs_count, n_middle_idx;
  int32_t n_th1, n_npks;
  int32_t an_ir_valley_locs[15] ;
  int32_t n_peak_interval_sum;

  int32_t n_y_ac, n_x_ac;
  int32_t n_spo2_calc;
  int32_t n_y_dc_max, n_x_dc_max;
  int32_t n_y_dc_max_idx, n_x_dc_max_idx;
  int32_t an_ratio[5], n_ratio_average;
  int32_t n_nume, n_denom ;

  // calculates DC mean and subtract DC from ir
  un_ir_mean =0;
  for (k=0 ; k<n_ir_buffer_length ; k++ ) un_ir_mean += pun_ir_buffer[k] ;
  un_ir_mean =un_ir_mean/n_ir_buffer_length ;

  // remove DC and invert signal so that we can use peak detector as valley detector
  for (k=0 ; k<n_ir_buffer_length ; k++ )
    an_x[k] = -1*(pun_ir_buffer[k] - un_ir_mean) ;

  // 4 pt Moving Average
  for(k=0; k< BUFFER_SIZE-MA4_SIZE; k++){
    an_x[k]=( an_x[k]+an_x[k+1]+ an_x[k+2]+ an_x[k+3])/(int)4;
  }
  // calculate threshold
  n_th1=0;
  for ( k=0 ; k<BUFFER_SIZE ;k++){
    n_th1 +=  an_x[k];
  }
  n_th1=  n_th1/ ( BUFFER_SIZE);
  if( n_th1<30) n_th1=30; // min allowed
  if( n_th1>60) n_th1=60; // max allowed

  for ( k=0 ; k<15;k++) an_ir_valley_locs[k]=0;
  // since we flipped signal, we use peak detector as valley detector
  maxim_find_peaks( an_ir_valley_locs, &n_npks, an_x, BUFFER_SIZE, n_th1, 4, 15 );//peak_height, peak_distance, max_num_peaks
  n_peak_interval_sum =0;
  if (n_npks>=2){
    for (k=1; k<n_npks; k++) n_peak_interval_sum += (an_ir_valley_locs[k] -an_ir_valley_locs[k -1] ) ;
    n_peak_interval_sum =n_peak_interval_sum/(n_npks-1);
    *pn_heart_rate =(int32_t)( (FS*60)/ n_peak_interval_sum );
    *pch_hr_valid  = 1;
  }
  else  {
    *pn_heart_rate = -999; // unable to calculate because # of peaks are too small
    *pch_hr_valid  = 0;
  }

  //  load raw value again for SPO2 calculation : RED(=y) and IR(=X)
  for (k=0 ; k<n_ir_buffer_length ; k++ )  {
      an_x[k] =  pun_ir_buffer[k] ;
      an_y[k] =  pun_red_buffer[k] ;
  }

  // find precise min near an_ir_valley_locs
  n_exact_ir_valley_locs_count =n_npks;

  //using exact_ir_valley_locs , find ir-red DC andir-red AC for SPO2 calibration an_ratio
  //finding AC/DC maximum of raw

  n_ratio_average =0;
  n_i_ratio_count = 0;
  for(k=0; k< 5; k++) an_ratio[k]=0;
  for (k=0; k< n_exact_ir_valley_locs_count; k++){
    if (an_ir_valley_locs[k] > BUFFER_SIZE ){
      *pn_spo2 =  -999 ; // do not use SPO2 since valley loc is out of range
      *pch_spo2_valid  = 0;
      return;
    }
  }
  // find max between two valley locations
  // and use an_ratio betwen AC compoent of Ir & Red and DC compoent of Ir & Red for SPO2
  for (k=0; k< n_exact_ir_valley_locs_count-1; k++){
    n_y_dc_max= -16777216 ;
    n_x_dc_max= -16777216;
    if (an_ir_valley_locs[k+1]-an_ir_valley_locs[k] >3){
        for (i=an_ir_valley_locs[k]; i< an_ir_valley_locs[k+1]; i++){
          if (an_x[i]> n_x_dc_max) {n_x_dc_max =an_x[i]; n_x_dc_max_idx=i;}
          if (an_y[i]> n_y_dc_max) {n_y_dc_max =an_y[i]; n_y_dc_max_idx=i;}
      }
      n_y_ac= (an_y[an_ir_valley_locs[k+1]] - an_y[an_ir_valley_locs[k] ] )*(n_y_dc_max_idx -an_ir_valley_locs[k]); //red
      n_y_ac=  an_y[an_ir_valley_locs[k]] + n_y_ac/ (an_ir_valley_locs[k+1] - an_ir_valley_locs[k])  ;
      n_y_ac=  an_y[n_y_dc_max_idx] - n_y_ac;    // subracting linear DC compoenents from raw
      n_x_ac= (an_x[an_ir_valley_locs[k+1]] - an_x[an_ir_valley_locs[k] ] )*(n_x_dc_max_idx -an_ir_valley_locs[k]); // ir
      n_x_ac=  an_x[an_ir_valley_locs[k]] + n_x_ac/ (an_ir_valley_locs[k+1] - an_ir_valley_locs[k]);
      n_x_ac=  an_x[n_y_dc_max_idx] - n_x_ac;      // subracting linear DC compoenents from raw
      n_nume=( n_y_ac *n_x_dc_max)>>7 ; //prepare X100 to preserve floating value
      n_denom= ( n_x_ac *n_y_dc_max)>>7;
      if (n_denom>0  && n_i_ratio_count <5 &&  n_nume != 0)
      {
        an_ratio[n_i_ratio_count]= (n_nume*100)/n_denom ; //formular is ( n_y_ac *n_x_dc_max) / ( n_x_ac *n_y_dc_max) ;
        n_i_ratio_count++;
      }
    }
  }
  // choose median value since PPG signal may varies from beat to beat
  maxim_sort_ascend(an_ratio, n_i_ratio_count);
  n_middle_idx= n_i_ratio_count/2;

  if (n_middle_idx >1)
    n_ratio_average =( an_ratio[n_middle_idx-1] +an_ratio[n_middle_idx])/2; // use median
  else
    n_ratio_average = an_ratio[n_middle_idx ];

  if( n_ratio_average>2 && n_ratio_average <184){
    n_spo2_calc= uch_spo2_table[n_ratio_average] ;
    *pn_spo2 = n_spo2_calc ;
    *pch_spo2_valid  = 1;//  float_SPO2 =  -45.060*n_ratio_average* n_ratio_average/10000 + 30.354 *n_ratio_average/100 + 94.845 ;  // for comparison with table
  }
  else{
    *pn_spo2 =  -999 ; // do not use SPO2 since signal an_ratio is out of range
    *pch_spo2_valid  = 0;
  }
}


void maxim_find_peaks( int32_t *pn_locs, int32_t *n_npks,  int32_t  *pn_x, int32_t n_size, int32_t n_min_height, int32_t n_min_distance, int32_t n_max_num )
/**
* \brief        Find peaks
* \par          Details
*               Find at most MAX_NUM peaks above MIN_HEIGHT separated by at least MIN_DISTANCE
*
* \retval       None
*/
{
  maxim_peaks_above_min_height( pn_locs, n_npks, pn_x, n_size, n_min_height );
  maxim_remove_close_peaks( pn_locs, n_npks, pn_x, n_min_distance );
  *n_npks = min( *n_npks, n_max_num );
}

void maxim_peaks_above_min_height( int32_t *pn_locs, int32_t *n_npks,  int32_t  *pn_x, int32_t n_size, int32_t n_min_height )
/**
* \brief        Find peaks above n_min_height
* \par          Details
*               Find all peaks above MIN_HEIGHT
*
* \retval       None
*/
{
  int32_t i = 1, n_width;
  *n_npks = 0;

  while (i < n_size-1){
    if (pn_x[i] > n_min_height && pn_x[i] > pn_x[i-1]){      // find left edge of potential peaks
      n_width = 1;
      while (i+n_width < n_size && pn_x[i] == pn_x[i+n_width])  // find flat peaks
        n_width++;
      if (pn_x[i] > pn_x[i+n_width] && (*n_npks) < 15 ){      // find right edge of peaks
        pn_locs[(*n_npks)++] = i;
        // for flat peaks, peak location is left edge
        i += n_width+1;
      }
      else
        i += n_width;
    }
    else
      i++;
  }
}

void maxim_remove_close_peaks(int32_t *pn_locs, int32_t *pn_npks, int32_t *pn_x, int32_t n_min_distance)
/**
* \brief        Remove peaks
* \par          Details
*               Remove peaks separated by less than MIN_DISTANCE
*
* \retval       None
*/
{

  int32_t i, j, n_old_npks, n_dist;

  /* Order peaks from large to small */
  maxim_sort_indices_descend( pn_x, pn_locs, *pn_npks );

  for ( i = -1; i < *pn_npks; i++ ){
    n_old_npks = *pn_npks;
    *pn_npks = i+1;
    for ( j = i+1; j < n_old_npks; j++ ){
      n_dist =  pn_locs[j] - ( i == -1 ? -1 : pn_locs[i] ); // lag-zero peak of autocorr is at index -1
      if ( n_dist > n_min_distance || n_dist < -n_min_distance )
        pn_locs[(*pn_npks)++] = pn_locs[j];
    }
  }

  // Resort indices int32_to ascending order
  maxim_sort_ascend( pn_locs, *pn_npks );
}

void maxim_sort_ascend(int32_t  *pn_x, int32_t n_size)
/**
* \brief        Sort array
* \par          Details
*               Sort array in ascending order (insertion sort algorithm)
*
* \retval       None
*/
{
  int32_t i, j, n_temp;
  for (i = 1; i < n_size; i++) {
    n_temp = pn_x[i];
    for (j = i; j > 0 && n_temp < pn_x[j-1]; j--)
        pn_x[j] = pn_x[j-1];
    pn_x[j] = n_temp;
  }
}

void maxim_sort_indices_descend(  int32_t  *pn_x, int32_t *pn_indx, int32_t n_size)
/**
* \brief        Sort indices
* \par          Details
*               Sort indices according to descending order (insertion sort algorithm)
*
* \retval       None
*/
{
  int32_t i, j, n_temp;
  for (i = 1; i < n_size; i++) {
    n_temp = pn_indx[i];
    for (j = i; j > 0 && pn_x[n_temp] > pn_x[pn_indx[j-1]]; j--)
      pn_indx[j] = pn_indx[j-1];
    pn_indx[j] = n_temp;
  }
}
```

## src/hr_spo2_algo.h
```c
#ifndef HR_SPO2_ALGO_H_
#define HR_SPO2_ALGO_H_
#include <stdint.h>

#define true 1
#define false 0
#define FS 25    //sampling frequency
#define BUFFER_SIZE  (400)//(FS* 4)
#define MA4_SIZE  4 // DONOT CHANGE
#define min(x,y) ((x) < (y) ? (x) : (y))

void maxim_heart_rate_and_oxygen_saturation(uint32_t *pun_ir_buffer, int32_t n_ir_buffer_length, uint32_t *pun_red_buffer, int32_t *pn_spo2, int8_t *pch_spo2_valid, int32_t *pn_heart_rate, int8_t *pch_hr_valid);
void maxim_find_peaks(int32_t *pn_locs, int32_t *n_npks,  int32_t  *pn_x, int32_t n_size, int32_t n_min_height, int32_t n_min_distance, int32_t n_max_num);
void maxim_peaks_above_min_height(int32_t *pn_locs, int32_t *n_npks,  int32_t  *pn_x, int32_t n_size, int32_t n_min_height);
void maxim_remove_close_peaks(int32_t *pn_locs, int32_t *pn_npks, int32_t *pn_x, int32_t n_min_distance);
void maxim_sort_ascend(int32_t  *pn_x, int32_t n_size);
void maxim_sort_indices_descend(int32_t  *pn_x, int32_t *pn_indx, int32_t n_size);

#endif /* HR_SPO2_ALGO_H_ */
```

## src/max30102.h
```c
// #ifndef MAX30102_H_
#define MAX30102_H_

//////////////////////////////////////////// | Header File | ///////////////////////////////////////////////
#include<stdbool.h>
#include<stdint.h>
#include<stdio.h>

#define MAX30105_ADDRESS    0x57 //7-bit I2C Address
#define I2C_BUFFER_LENGTH 32
#define BUFFER_LENGTH 32
#define HR_Times 25
//////////////////////| Main Functions |////////////////////////
bool max30102_Begin();
void max30102_Setup();
uint32_t max30102_GetRed(void);
uint32_t max30102_GetIR(void);
uint32_t max30102_GetGreen(void);
/////////////////////| Nested Functions |//////////////////////////
void writeRegister8(uint8_t reg, uint8_t value1);
uint8_t readRegister8(uint8_t reg);
uint8_t readPartID();
void readRevisionID();
void bitMask(uint8_t reg, uint8_t mask, uint8_t thing);
void softReset(void);
void setFIFOAverage(uint8_t numberOfSamples);
void enableFIFORollover(void);
//////////////////////////////////////
void disableFIFORollover(void);
//////////////////////////////////////
void setLEDMode(uint8_t mode);
void setADCRange(uint8_t adcRange);
void setSampleRate(uint8_t sampleRate);
void setPulseWidth(uint8_t pulseWidth);
void setPulseAmplitudeRed(uint8_t amplitude);
void setPulseAmplitudeIR(uint8_t amplitude);
void setPulseAmplitudeGreen(uint8_t amplitude);
void setPulseAmplitudeProximity(uint8_t amplitude);
void enableSlot(uint8_t slotNumber, uint8_t device);
void clearFIFO(void);
bool safeCheck(uint32_t maxTimeToCheck);
bool check(void);
uint8_t getReadPointer(void);
uint8_t getReadPointer(void);
uint8_t getWritePointer(void);
uint8_t requestFrom(uint8_t quantity);
int read(void);
void beginTransmission(void);
void write(uint8_t data);
uint32_t endTransmission(void);
uint8_t available(void);
void init_heart_rate(void);
bool get_hr_spo2(uint32_t* p_hr, uint32_t* p_spo2);
void get_stress_level(char *p_stress);
///////////////////////////////////////// | End of Header File | ///////////////////////////////////////////

// #endif /* MAX30102_H_ */
```
